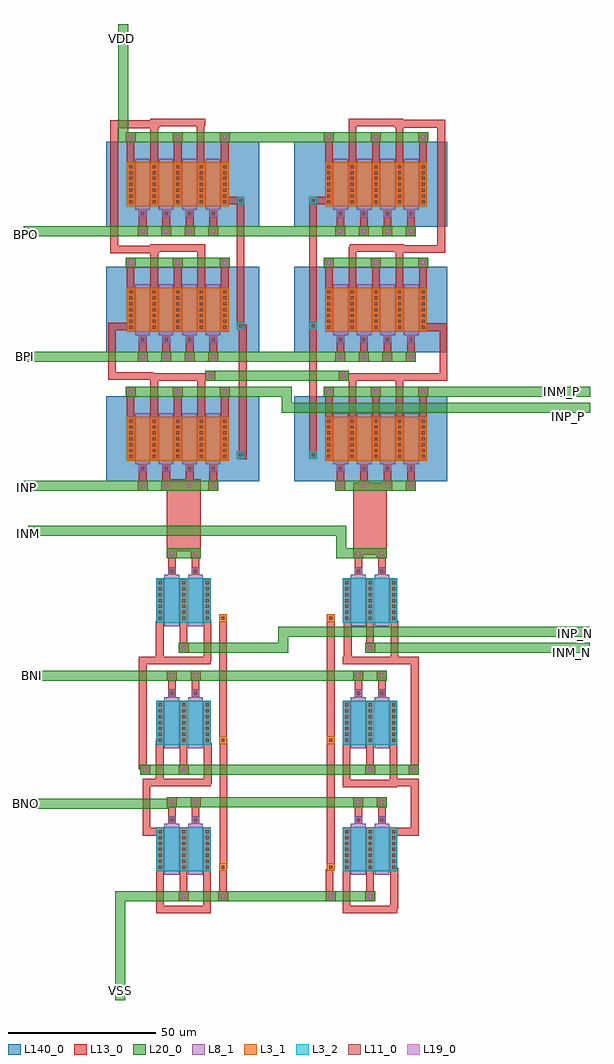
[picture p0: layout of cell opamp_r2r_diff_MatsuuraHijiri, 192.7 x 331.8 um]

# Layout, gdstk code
from math import pi, radians
import gdstk
lib = gdstk.Library(unit=1e-6, precision=1e-07)
def R(c, l, rs):  # rectangles x0, y0, x1, y1
    for r in rs: c.add(gdstk.rectangle(r[:2], r[2:], *l))
def A(c, l, x, y, w, h, nx, ny, dx, dy):  # array of equal rectangles
    R(c, l, [(x+i*dx, y+j*dy, x+i*dx+w, y+j*dy+h) for i in range(nx) for j in range(ny)])
L3_1 = (3, 1)
L3_2 = (3, 2)
L8_1 = (8, 1)
L11_0 = (11, 0)
L13_0 = (13, 0)
L19_0 = (19, 0)
L20_0 = (20, 0)
L140_0 = (140, 0)

via_1 = lib.new_cell('via_1')
R(via_1, L13_0, [(-1.7,-1.7,1.7,1.7)])
R(via_1, L19_0, [(-0.7,-0.7,0.7,0.7)])
R(via_1, L20_0, [(-1.7,-1.7,1.7,1.7)])

cont_g = lib.new_cell('cont_g')
R(cont_g, L8_1, [(-1.3,-1.3,1.3,1.3)])
R(cont_g, L11_0, [(-0.5,-0.5,0.5,0.5)])
R(cont_g, L13_0, [(-1.3,-1.3,1.3,1.3)])

cont_n = lib.new_cell('cont_n')
R(cont_n, L3_2, [(-1.3,-1.3,1.3,1.3)])
R(cont_n, L11_0, [(-0.5,-0.5,0.5,0.5)])
R(cont_n, L13_0, [(-1.3,-1.3,1.3,1.3)])

fet_p = lib.new_cell('fet_p')
R(fet_p, L3_1, [(-17.3,-7.5,17.3,7.5)])
A(fet_p, L11_0, -16.5, -6.5, 1, 1, 5, 7, 8, 2)
A(fet_p, L13_0, -17.3, -7.3, 2.6, 14.6, 5, 1, 8, 0)
fet_p.add(gdstk.FlexPath([(4,-8.7),(4,8.7)], 5, ends="flush", simple_path=True, layer=8, datatype=1))  # L8_1
fet_p.add(gdstk.FlexPath([(-4,-8.7),(-4,8.7)], 5, ends="flush", simple_path=True, layer=8, datatype=1))  # L8_1
fet_p.add(gdstk.FlexPath([(12,-8.7),(12,8.7)], 5, ends="flush", simple_path=True, layer=8, datatype=1))  # L8_1
fet_p.add(gdstk.FlexPath([(-12,-8.7),(-12,8.7)], 5, ends="flush", simple_path=True, layer=8, datatype=1))  # L8_1

fet_n = lib.new_cell('fet_n')
R(fet_n, L3_2, [(-9.3,-7.5,9.3,7.5)])
A(fet_n, L11_0, -8.5, -6.5, 1, 1, 3, 7, 8, 2)
A(fet_n, L13_0, -9.3, -7.3, 2.6, 14.6, 3, 1, 8, 0)
fet_n.add(gdstk.FlexPath([(4,-8.7),(4,8.7)], 5, ends="flush", simple_path=True, layer=8, datatype=1))  # L8_1
fet_n.add(gdstk.FlexPath([(-4,-8.7),(-4,8.7)], 5, ends="flush", simple_path=True, layer=8, datatype=1))  # L8_1

cont_p = lib.new_cell('cont_p')
R(cont_p, L3_1, [(-1.3,-1.3,1.3,1.3)])
R(cont_p, L11_0, [(-0.5,-0.5,0.5,0.5)])
R(cont_p, L13_0, [(-1.3,-1.3,1.3,1.3)])

opamp_r2r_diff_matsuurah = lib.new_cell('opamp_r2r_diff_MatsuuraHijiri')
R(opamp_r2r_diff_matsuurah, L13_0, [(57.6,-24.5,69.1,0), (-5.7,-23.3,5.8,1.2)])
R(opamp_r2r_diff_matsuurah, L140_0, [(-26.3,0.5,25.7,29.5), (37.7,0.5,89.7,29.5), (-26.3,44.4,25.7,73.4), (37.7,44.4,89.7,73.4), (-26.3,87,25.7,116), (37.7,87,89.7,116)])
opamp_r2r_diff_matsuurah.add(gdstk.FlexPath([(74,36),(88.4,36),(88.4,52.9),(82.7,52.9)], 2.6, ends="flush", simple_path=True, layer=13, datatype=0))  # L13_0
opamp_r2r_diff_matsuurah.add(gdstk.FlexPath([(44,54.7),(44,8.2)], 2.6, ends="flush", simple_path=True, layer=13, datatype=0))  # L13_0
opamp_r2r_diff_matsuurah.add(gdstk.FlexPath([(44,94.7),(44,52.1)], 2.6, ends="flush", simple_path=True, layer=13, datatype=0))  # L13_0
opamp_r2r_diff_matsuurah.add(gdstk.FlexPath([(48.1,96),(42.7,96)], 2.6, ends="flush", simple_path=True, layer=13, datatype=0))  # L13_0
opamp_r2r_diff_matsuurah.add(gdstk.FlexPath([(74.7,122.5),(56.1,122.5)], 2.6, ends="flush", simple_path=True, layer=13, datatype=0))  # L13_0
opamp_r2r_diff_matsuurah.add(gdstk.FlexPath([(75,79.9),(56.4,79.9)], 2.6, ends="flush", simple_path=True, layer=13, datatype=0))  # L13_0
opamp_r2r_diff_matsuurah.add(gdstk.FlexPath([(74.7,36),(56.1,36)], 2.6, ends="flush", simple_path=True, layer=13, datatype=0))  # L13_0
opamp_r2r_diff_matsuurah.add(gdstk.FlexPath([(53.3,90.2),(53.3,87.2)], 2.6, ends="flush", simple_path=True, layer=13, datatype=0))  # L13_0
opamp_r2r_diff_matsuurah.add(gdstk.FlexPath([(53.3,47.6),(53.3,44.6)], 2.6, ends="flush", simple_path=True, layer=13, datatype=0))  # L13_0
opamp_r2r_diff_matsuurah.add(gdstk.FlexPath([(53.3,3.7),(53.3,0.7)], 2.6, ends="flush", simple_path=True, layer=13, datatype=0))  # L13_0
opamp_r2r_diff_matsuurah.add(gdstk.FlexPath([(61.3,90.2),(61.3,87.2)], 2.6, ends="flush", simple_path=True, layer=13, datatype=0))  # L13_0
opamp_r2r_diff_matsuurah.add(gdstk.FlexPath([(61.3,47.6),(61.3,44.6)], 2.6, ends="flush", simple_path=True, layer=13, datatype=0))  # L13_0
opamp_r2r_diff_matsuurah.add(gdstk.FlexPath([(61.3,3.7),(61.3,0.7)], 2.6, ends="flush", simple_path=True, layer=13, datatype=0))  # L13_0
opamp_r2r_diff_matsuurah.add(gdstk.FlexPath([(69.3,90.2),(69.3,87.2)], 2.6, ends="flush", simple_path=True, layer=13, datatype=0))  # L13_0
opamp_r2r_diff_matsuurah.add(gdstk.FlexPath([(69.3,47.6),(69.3,44.6)], 2.6, ends="flush", simple_path=True, layer=13, datatype=0))  # L13_0
opamp_r2r_diff_matsuurah.add(gdstk.FlexPath([(69.3,3.7),(69.3,0.7)], 2.6, ends="flush", simple_path=True, layer=13, datatype=0))  # L13_0
opamp_r2r_diff_matsuurah.add(gdstk.FlexPath([(77.3,90.2),(77.3,87.2)], 2.6, ends="flush", simple_path=True, layer=13, datatype=0))  # L13_0
opamp_r2r_diff_matsuurah.add(gdstk.FlexPath([(77.3,47.6),(77.3,44.6)], 2.6, ends="flush", simple_path=True, layer=13, datatype=0))  # L13_0
opamp_r2r_diff_matsuurah.add(gdstk.FlexPath([(77.3,3.7),(77.3,0.7)], 2.6, ends="flush", simple_path=True, layer=13, datatype=0))  # L13_0
opamp_r2r_diff_matsuurah.add(gdstk.FlexPath([(57.4,108.8),(57.4,122.8)], 2.6, ends="flush", simple_path=True, layer=13, datatype=0))  # L13_0
opamp_r2r_diff_matsuurah.add(gdstk.FlexPath([(57.4,66.2),(57.4,80.2)], 2.6, ends="flush", simple_path=True, layer=13, datatype=0))  # L13_0
opamp_r2r_diff_matsuurah.add(gdstk.FlexPath([(57.4,22.3),(57.4,36.3)], 2.6, ends="flush", simple_path=True, layer=13, datatype=0))  # L13_0
opamp_r2r_diff_matsuurah.add(gdstk.FlexPath([(49.4,108.8),(49.4,115.8)], 2.6, ends="flush", simple_path=True, layer=13, datatype=0))  # L13_0
opamp_r2r_diff_matsuurah.add(gdstk.FlexPath([(49.4,66.2),(49.4,73.2)], 2.6, ends="flush", simple_path=True, layer=13, datatype=0))  # L13_0
opamp_r2r_diff_matsuurah.add(gdstk.FlexPath([(49.4,22.3),(49.4,29.3)], 2.6, ends="flush", simple_path=True, layer=13, datatype=0))  # L13_0
opamp_r2r_diff_matsuurah.add(gdstk.FlexPath([(73.4,108.8),(73.4,122.8)], 2.6, ends="flush", simple_path=True, layer=13, datatype=0))  # L13_0
opamp_r2r_diff_matsuurah.add(gdstk.FlexPath([(73.4,66.2),(73.4,80.2)], 2.6, ends="flush", simple_path=True, layer=13, datatype=0))  # L13_0
opamp_r2r_diff_matsuurah.add(gdstk.FlexPath([(73.4,22.3),(73.4,36.3)], 2.6, ends="flush", simple_path=True, layer=13, datatype=0))  # L13_0
opamp_r2r_diff_matsuurah.add(gdstk.FlexPath([(65.4,108.8),(65.4,115.8)], 2.6, ends="flush", simple_path=True, layer=13, datatype=0))  # L13_0
opamp_r2r_diff_matsuurah.add(gdstk.FlexPath([(65.4,66.2),(65.4,73.2)], 2.6, ends="flush", simple_path=True, layer=13, datatype=0))  # L13_0
opamp_r2r_diff_matsuurah.add(gdstk.FlexPath([(65.4,22.3),(65.4,29.3)], 2.6, ends="flush", simple_path=True, layer=13, datatype=0))  # L13_0
opamp_r2r_diff_matsuurah.add(gdstk.FlexPath([(81.4,108.8),(81.4,115.8)], 2.6, ends="flush", simple_path=True, layer=13, datatype=0))  # L13_0
opamp_r2r_diff_matsuurah.add(gdstk.FlexPath([(81.4,66.2),(81.4,73.2)], 2.6, ends="flush", simple_path=True, layer=13, datatype=0))  # L13_0
opamp_r2r_diff_matsuurah.add(gdstk.FlexPath([(81.4,22.3),(81.4,29.3)], 2.6, ends="flush", simple_path=True, layer=13, datatype=0))  # L13_0
opamp_r2r_diff_matsuurah.add(gdstk.FlexPath([(71.7,79.5),(87.6,79.5),(87.6,122.1),(71.7,122.1)], 2.6, ends="flush", simple_path=True, layer=13, datatype=0))  # L13_0
opamp_r2r_diff_matsuurah.add(gdstk.FlexPath([(20.1,53.7),(20.1,8)], 2.6, ends="flush", simple_path=True, layer=13, datatype=0))  # L13_0
opamp_r2r_diff_matsuurah.add(gdstk.FlexPath([(-13.9,47.6),(-13.9,44.6)], 2.6, ends="flush", simple_path=True, layer=13, datatype=0))  # L13_0
opamp_r2r_diff_matsuurah.add(gdstk.FlexPath([(10.1,47.6),(10.1,44.6)], 2.6, ends="flush", simple_path=True, layer=13, datatype=0))  # L13_0
opamp_r2r_diff_matsuurah.add(gdstk.FlexPath([(-13.9,90.2),(-13.9,87.2)], 2.6, ends="flush", simple_path=True, layer=13, datatype=0))  # L13_0
opamp_r2r_diff_matsuurah.add(gdstk.FlexPath([(6,22.3),(6,36.3)], 2.6, ends="flush", simple_path=True, layer=13, datatype=0))  # L13_0
opamp_r2r_diff_matsuurah.add(gdstk.FlexPath([(-11.3,36),(7.3,36)], 2.6, ends="flush", simple_path=True, layer=13, datatype=0))  # L13_0
opamp_r2r_diff_matsuurah.add(gdstk.FlexPath([(10.1,90.2),(10.1,87.2)], 2.6, ends="flush", simple_path=True, layer=13, datatype=0))  # L13_0
opamp_r2r_diff_matsuurah.add(gdstk.FlexPath([(6,66.2),(6,80.2)], 2.6, ends="flush", simple_path=True, layer=13, datatype=0))  # L13_0
opamp_r2r_diff_matsuurah.add(gdstk.FlexPath([(2.1,3.7),(2.1,0.7)], 2.6, ends="flush", simple_path=True, layer=13, datatype=0))  # L13_0
opamp_r2r_diff_matsuurah.add(gdstk.FlexPath([(5.8,108.1),(5.8,122.1)], 2.6, ends="flush", simple_path=True, layer=13, datatype=0))  # L13_0
opamp_r2r_diff_matsuurah.add(gdstk.FlexPath([(14,22.3),(14,29.3)], 2.6, ends="flush", simple_path=True, layer=13, datatype=0))  # L13_0
opamp_r2r_diff_matsuurah.add(gdstk.FlexPath([(-10.3,36.3),(-24.4,36.3),(-24.4,53.2),(-18.7,53.2)], 2.6, ends="flush", simple_path=True, layer=13, datatype=0))  # L13_0
opamp_r2r_diff_matsuurah.add(gdstk.FlexPath([(19.4,94.7),(19.4,54.1)], 2.6, ends="flush", simple_path=True, layer=13, datatype=0))  # L13_0
opamp_r2r_diff_matsuurah.add(gdstk.FlexPath([(14,66.2),(14,73.2)], 2.6, ends="flush", simple_path=True, layer=13, datatype=0))  # L13_0
opamp_r2r_diff_matsuurah.add(gdstk.FlexPath([(2.1,47.6),(2.1,44.6)], 2.6, ends="flush", simple_path=True, layer=13, datatype=0))  # L13_0
opamp_r2r_diff_matsuurah.add(gdstk.FlexPath([(14,108.8),(14,115.8)], 2.6, ends="flush", simple_path=True, layer=13, datatype=0))  # L13_0
opamp_r2r_diff_matsuurah.add(gdstk.FlexPath([(-10,22.3),(-10,36.3)], 2.6, ends="flush", simple_path=True, layer=13, datatype=0))  # L13_0
opamp_r2r_diff_matsuurah.add(gdstk.FlexPath([(-11.3,79.9),(7.3,79.9)], 2.6, ends="flush", simple_path=True, layer=13, datatype=0))  # L13_0
opamp_r2r_diff_matsuurah.add(gdstk.FlexPath([(2.1,90.2),(2.1,87.2)], 2.6, ends="flush", simple_path=True, layer=13, datatype=0))  # L13_0
opamp_r2r_diff_matsuurah.add(gdstk.FlexPath([(-10,66.2),(-10,80.2)], 2.6, ends="flush", simple_path=True, layer=13, datatype=0))  # L13_0
opamp_r2r_diff_matsuurah.add(gdstk.FlexPath([(-5.9,3.7),(-5.9,0.7)], 2.6, ends="flush", simple_path=True, layer=13, datatype=0))  # L13_0
opamp_r2r_diff_matsuurah.add(gdstk.FlexPath([(-10,107.9),(-10,121.9)], 2.6, ends="flush", simple_path=True, layer=13, datatype=0))  # L13_0
opamp_r2r_diff_matsuurah.add(gdstk.FlexPath([(-2,22.3),(-2,29.3)], 2.6, ends="flush", simple_path=True, layer=13, datatype=0))  # L13_0
opamp_r2r_diff_matsuurah.add(gdstk.FlexPath([(-8.3,79.3),(-23.6,79.3),(-23.6,121.9),(-8.3,121.9)], 2.6, ends="flush", simple_path=True, layer=13, datatype=0))  # L13_0
opamp_r2r_diff_matsuurah.add(gdstk.FlexPath([(-2,66.2),(-2,73.2)], 2.6, ends="flush", simple_path=True, layer=13, datatype=0))  # L13_0
opamp_r2r_diff_matsuurah.add(gdstk.FlexPath([(-5.9,47.6),(-5.9,44.6)], 2.6, ends="flush", simple_path=True, layer=13, datatype=0))  # L13_0
opamp_r2r_diff_matsuurah.add(gdstk.FlexPath([(-2,108.8),(-2,115.8)], 2.6, ends="flush", simple_path=True, layer=13, datatype=0))  # L13_0
opamp_r2r_diff_matsuurah.add(gdstk.FlexPath([(-18,22.3),(-18,29.3)], 2.6, ends="flush", simple_path=True, layer=13, datatype=0))  # L13_0
opamp_r2r_diff_matsuurah.add(gdstk.FlexPath([(10.1,3.7),(10.1,0.7)], 2.6, ends="flush", simple_path=True, layer=13, datatype=0))  # L13_0
opamp_r2r_diff_matsuurah.add(gdstk.FlexPath([(-5.9,90.2),(-5.9,87.2)], 2.6, ends="flush", simple_path=True, layer=13, datatype=0))  # L13_0
opamp_r2r_diff_matsuurah.add(gdstk.FlexPath([(-18,66.2),(-18,73.2)], 2.6, ends="flush", simple_path=True, layer=13, datatype=0))  # L13_0
opamp_r2r_diff_matsuurah.add(gdstk.FlexPath([(-13.9,3.7),(-13.9,0.7)], 2.6, ends="flush", simple_path=True, layer=13, datatype=0))  # L13_0
opamp_r2r_diff_matsuurah.add(gdstk.FlexPath([(-18,108.8),(-18,115.8)], 2.6, ends="flush", simple_path=True, layer=13, datatype=0))  # L13_0
opamp_r2r_diff_matsuurah.add(gdstk.FlexPath([(-11.3,122.5),(7.3,122.5)], 2.6, ends="flush", simple_path=True, layer=13, datatype=0))  # L13_0
opamp_r2r_diff_matsuurah.add(gdstk.FlexPath([(20.7,96),(15.3,96)], 2.6, ends="flush", simple_path=True, layer=13, datatype=0))  # L13_0
opamp_r2r_diff_matsuurah.add(gdstk.FlexPath([(13.4,-45.3),(13.4,-87.2)], 2.6, ends="flush", simple_path=True, layer=13, datatype=0))  # L13_0
opamp_r2r_diff_matsuurah.add(gdstk.FlexPath([(13.6,-87),(13.6,-131.1)], 2.6, ends="flush", simple_path=True, layer=13, datatype=0))  # L13_0
opamp_r2r_diff_matsuurah.add(gdstk.FlexPath([(-7.4,-101.9),(-12.6,-101.9),(-12.6,-118.6),(-7.4,-118.6)], 2.6, ends="flush", simple_path=True, layer=13, datatype=0))  # L13_0
opamp_r2r_diff_matsuurah.add(gdstk.FlexPath([(-8.7,-60.4),(-13.9,-60.4),(-13.9,-97.4)], 2.6, ends="flush", simple_path=True, layer=13, datatype=0))  # L13_0
opamp_r2r_diff_matsuurah.add(gdstk.FlexPath([(13.4,-130.5),(13.4,-140.7)], 2.6, ends="flush", simple_path=True, layer=13, datatype=0))  # L13_0
opamp_r2r_diff_matsuurah.add(gdstk.FlexPath([(-8,-145.9),(-8,-131.9)], 2.6, ends="flush", simple_path=True, layer=13, datatype=0))  # L13_0
opamp_r2r_diff_matsuurah.add(gdstk.FlexPath([(0,-54.3),(0,-47.3)], 2.6, ends="flush", simple_path=True, layer=13, datatype=0))  # L13_0
opamp_r2r_diff_matsuurah.add(gdstk.FlexPath([(0,-95.8),(0,-88.8)], 2.6, ends="flush", simple_path=True, layer=13, datatype=0))  # L13_0
opamp_r2r_diff_matsuurah.add(gdstk.FlexPath([(0,-138.9),(0,-131.9)], 2.6, ends="flush", simple_path=True, layer=13, datatype=0))  # L13_0
opamp_r2r_diff_matsuurah.add(gdstk.FlexPath([(8.1,-60.5),(8.1,-46.5)], 2.6, ends="flush", simple_path=True, layer=13, datatype=0))  # L13_0
opamp_r2r_diff_matsuurah.add(gdstk.FlexPath([(8.2,-102.5),(8.2,-88.5)], 2.6, ends="flush", simple_path=True, layer=13, datatype=0))  # L13_0
opamp_r2r_diff_matsuurah.add(gdstk.FlexPath([(8,-145.9),(8,-131.9)], 2.6, ends="flush", simple_path=True, layer=13, datatype=0))  # L13_0
opamp_r2r_diff_matsuurah.add(gdstk.FlexPath([(-9.3,-60.4),(9.3,-60.4)], 2.6, ends="flush", simple_path=True, layer=13, datatype=0))  # L13_0
opamp_r2r_diff_matsuurah.add(gdstk.FlexPath([(-9.3,-101.9),(9.3,-101.9)], 2.6, ends="flush", simple_path=True, layer=13, datatype=0))  # L13_0
opamp_r2r_diff_matsuurah.add(gdstk.FlexPath([(-4,-25.7),(-4,-28.7)], 2.6, ends="flush", simple_path=True, layer=13, datatype=0))  # L13_0
opamp_r2r_diff_matsuurah.add(gdstk.FlexPath([(-4,-67.2),(-4,-70.2)], 2.6, ends="flush", simple_path=True, layer=13, datatype=0))  # L13_0
opamp_r2r_diff_matsuurah.add(gdstk.FlexPath([(-4,-110.3),(-4,-113.3)], 2.6, ends="flush", simple_path=True, layer=13, datatype=0))  # L13_0
opamp_r2r_diff_matsuurah.add(gdstk.FlexPath([(4,-25.7),(4,-28.7)], 2.6, ends="flush", simple_path=True, layer=13, datatype=0))  # L13_0
opamp_r2r_diff_matsuurah.add(gdstk.FlexPath([(4,-67.2),(4,-70.2)], 2.6, ends="flush", simple_path=True, layer=13, datatype=0))  # L13_0
opamp_r2r_diff_matsuurah.add(gdstk.FlexPath([(4,-110.3),(4,-113.3)], 2.6, ends="flush", simple_path=True, layer=13, datatype=0))  # L13_0
opamp_r2r_diff_matsuurah.add(gdstk.FlexPath([(-9.3,-145),(9.3,-145)], 2.6, ends="flush", simple_path=True, layer=13, datatype=0))  # L13_0
opamp_r2r_diff_matsuurah.add(gdstk.FlexPath([(-8.1,-60.9),(-8.1,-46.9)], 2.6, ends="flush", simple_path=True, layer=13, datatype=0))  # L13_0
opamp_r2r_diff_matsuurah.add(gdstk.FlexPath([(-8.1,-101.5),(-8.1,-87.5)], 2.6, ends="flush", simple_path=True, layer=13, datatype=0))  # L13_0
opamp_r2r_diff_matsuurah.add(gdstk.FlexPath([(71.7,-60.4),(78.6,-60.4),(78.6,-98.9)], 2.6, ends="flush", simple_path=True, layer=13, datatype=0))  # L13_0
opamp_r2r_diff_matsuurah.add(gdstk.FlexPath([(71.4,-102.8),(71.4,-88.8)], 2.6, ends="flush", simple_path=True, layer=13, datatype=0))  # L13_0
opamp_r2r_diff_matsuurah.add(gdstk.FlexPath([(49.6,-131.4),(49.6,-141)], 2.6, ends="flush", simple_path=True, layer=13, datatype=0))  # L13_0
opamp_r2r_diff_matsuurah.add(gdstk.FlexPath([(72.7,-60.4),(54.1,-60.4)], 2.6, ends="flush", simple_path=True, layer=13, datatype=0))  # L13_0
opamp_r2r_diff_matsuurah.add(gdstk.FlexPath([(71.6,-144.8),(71.6,-130.8)], 2.6, ends="flush", simple_path=True, layer=13, datatype=0))  # L13_0
opamp_r2r_diff_matsuurah.add(gdstk.FlexPath([(72.7,-102.2),(54.1,-102.2)], 2.6, ends="flush", simple_path=True, layer=13, datatype=0))  # L13_0
opamp_r2r_diff_matsuurah.add(gdstk.FlexPath([(67.4,-110.3),(67.4,-113.3)], 2.6, ends="flush", simple_path=True, layer=13, datatype=0))  # L13_0
opamp_r2r_diff_matsuurah.add(gdstk.FlexPath([(59.4,-67.2),(59.4,-70.2)], 2.6, ends="flush", simple_path=True, layer=13, datatype=0))  # L13_0
opamp_r2r_diff_matsuurah.add(gdstk.FlexPath([(63.4,-54.3),(63.4,-47.3)], 2.6, ends="flush", simple_path=True, layer=13, datatype=0))  # L13_0
opamp_r2r_diff_matsuurah.add(gdstk.FlexPath([(59.4,-110.3),(59.4,-113.3)], 2.6, ends="flush", simple_path=True, layer=13, datatype=0))  # L13_0
opamp_r2r_diff_matsuurah.add(gdstk.FlexPath([(63.4,-95.8),(63.4,-88.8)], 2.6, ends="flush", simple_path=True, layer=13, datatype=0))  # L13_0
opamp_r2r_diff_matsuurah.add(gdstk.FlexPath([(63.4,-138.9),(63.4,-131.9)], 2.6, ends="flush", simple_path=True, layer=13, datatype=0))  # L13_0
opamp_r2r_diff_matsuurah.add(gdstk.FlexPath([(67.4,-25.7),(67.4,-28.7)], 2.6, ends="flush", simple_path=True, layer=13, datatype=0))  # L13_0
opamp_r2r_diff_matsuurah.add(gdstk.FlexPath([(67.4,-67.2),(67.4,-70.2)], 2.6, ends="flush", simple_path=True, layer=13, datatype=0))  # L13_0
opamp_r2r_diff_matsuurah.add(gdstk.FlexPath([(55.8,-61.3),(55.8,-47.3)], 2.6, ends="flush", simple_path=True, layer=13, datatype=0))  # L13_0
opamp_r2r_diff_matsuurah.add(gdstk.FlexPath([(50,-46.9),(50,-87.6)], 2.6, ends="flush", simple_path=True, layer=13, datatype=0))  # L13_0
opamp_r2r_diff_matsuurah.add(gdstk.FlexPath([(71.7,-60.8),(71.7,-46.8)], 2.6, ends="flush", simple_path=True, layer=13, datatype=0))  # L13_0
opamp_r2r_diff_matsuurah.add(gdstk.FlexPath([(55.4,-102.8),(55.4,-88.8)], 2.6, ends="flush", simple_path=True, layer=13, datatype=0))  # L13_0
opamp_r2r_diff_matsuurah.add(gdstk.FlexPath([(72.7,-145),(54.1,-145)], 2.6, ends="flush", simple_path=True, layer=13, datatype=0))  # L13_0
opamp_r2r_diff_matsuurah.add(gdstk.FlexPath([(55.4,-145.9),(55.4,-131.9)], 2.6, ends="flush", simple_path=True, layer=13, datatype=0))  # L13_0
opamp_r2r_diff_matsuurah.add(gdstk.FlexPath([(50,-130.2),(50,-87.3)], 2.6, ends="flush", simple_path=True, layer=13, datatype=0))  # L13_0
opamp_r2r_diff_matsuurah.add(gdstk.FlexPath([(71.7,-101.9),(78.6,-101.9),(78.6,-118.6),(71.7,-118.6)], 2.6, ends="flush", simple_path=True, layer=13, datatype=0))  # L13_0
opamp_r2r_diff_matsuurah.add(gdstk.FlexPath([(59.4,-25.7),(59.4,-28.7)], 2.6, ends="flush", simple_path=True, layer=13, datatype=0))  # L13_0
opamp_r2r_diff_matsuurah.add(gdstk.FlexPath([(-5.7,-24),(5.8,-24)], 3.4, ends="flush", simple_path=True, layer=20, datatype=0))  # L20_0
opamp_r2r_diff_matsuurah.add(gdstk.FlexPath([(69.1,-24),(57.6,-24)], 3.4, ends="flush", simple_path=True, layer=20, datatype=0))  # L20_0
opamp_r2r_diff_matsuurah.add(gdstk.FlexPath([(-5.7,-65.5),(5.8,-65.5)], 3.4, ends="flush", simple_path=True, layer=20, datatype=0))  # L20_0
opamp_r2r_diff_matsuurah.add(gdstk.FlexPath([(69.1,-65.5),(57.6,-65.5)], 3.4, ends="flush", simple_path=True, layer=20, datatype=0))  # L20_0
opamp_r2r_diff_matsuurah.add(gdstk.FlexPath([(69.1,-108.6),(57.6,-108.6)], 3.4, ends="flush", simple_path=True, layer=20, datatype=0))  # L20_0
opamp_r2r_diff_matsuurah.add(gdstk.FlexPath([(-5.7,-108.6),(5.8,-108.6)], 3.4, ends="flush", simple_path=True, layer=20, datatype=0))  # L20_0
opamp_r2r_diff_matsuurah.add(gdstk.FlexPath([(53.2,36.4),(10.1,36.4)], 3.4, ends="flush", simple_path=True, layer=20, datatype=0))  # L20_0
opamp_r2r_diff_matsuurah.add(gdstk.FlexPath([(-12.2,42.9),(-54.4,42.9)], 3.4, ends="flush", simple_path=True, layer=20, datatype=0))  # L20_0
opamp_r2r_diff_matsuurah.add(gdstk.FlexPath([(-13.5,117.5),(-20.6,117.5),(-20.6,156)], 3.4, ends="flush", simple_path=True, layer=20, datatype=0))  # L20_0
opamp_r2r_diff_matsuurah.add(gdstk.FlexPath([(54.9,42.9),(11.8,42.9)], 3.4, ends="flush", simple_path=True, layer=20, datatype=0))  # L20_0
opamp_r2r_diff_matsuurah.add(gdstk.FlexPath([(51.2,85.5),(10.4,85.5)], 3.4, ends="flush", simple_path=True, layer=20, datatype=0))  # L20_0
opamp_r2r_diff_matsuurah.add(gdstk.FlexPath([(-14.8,-97.5),(3.4,-97.5)], 3.4, ends="flush", simple_path=True, layer=20, datatype=0))  # L20_0
opamp_r2r_diff_matsuurah.add(gdstk.FlexPath([(15.7,31),(35.1,31),(35.1,25.6),(138.3,25.6)], 3.4, ends="flush", simple_path=True, layer=20, datatype=0))  # L20_0
opamp_r2r_diff_matsuurah.add(gdstk.FlexPath([(79.1,31),(138.3,31)], 3.4, ends="flush", simple_path=True, layer=20, datatype=0))  # L20_0
opamp_r2r_diff_matsuurah.add(gdstk.FlexPath([(58.9,-23.9),(53.6,-23.9),(53.6,-16.2),(-52.8,-16.2)], 3.4, ends="flush", simple_path=True, layer=20, datatype=0))  # L20_0
opamp_r2r_diff_matsuurah.add(gdstk.FlexPath([(-4.8,-109.1),(-54,-109.1)], 3.4, ends="flush", simple_path=True, layer=20, datatype=0))  # L20_0
opamp_r2r_diff_matsuurah.add(gdstk.FlexPath([(58.2,-108.6),(5.3,-108.6)], 3.4, ends="flush", simple_path=True, layer=20, datatype=0))  # L20_0
opamp_r2r_diff_matsuurah.add(gdstk.FlexPath([(61.7,-140.6),(1.7,-140.6)], 3.4, ends="flush", simple_path=True, layer=20, datatype=0))  # L20_0
opamp_r2r_diff_matsuurah.add(gdstk.FlexPath([(-1.7,-140.6),(-21.6,-140.6),(-21.6,-175.8)], 3.4, ends="flush", simple_path=True, layer=20, datatype=0))  # L20_0
opamp_r2r_diff_matsuurah.add(gdstk.FlexPath([(1.7,-97.5),(61.7,-97.5)], 3.4, ends="flush", simple_path=True, layer=20, datatype=0))  # L20_0
opamp_r2r_diff_matsuurah.add(gdstk.FlexPath([(61.7,-97.5),(79.9,-97.5)], 3.4, ends="flush", simple_path=True, layer=20, datatype=0))  # L20_0
opamp_r2r_diff_matsuurah.add(gdstk.FlexPath([(65.1,-56),(138.1,-56)], 3.4, ends="flush", simple_path=True, layer=20, datatype=0))  # L20_0
opamp_r2r_diff_matsuurah.add(gdstk.FlexPath([(-12.2,85.5),(-54.4,85.5)], 3.4, ends="flush", simple_path=True, layer=20, datatype=0))  # L20_0
opamp_r2r_diff_matsuurah.add(gdstk.FlexPath([(-12.2,85.5),(-54.4,85.5)], 3.4, ends="flush", simple_path=True, layer=20, datatype=0))  # L20_0
opamp_r2r_diff_matsuurah.add(gdstk.FlexPath([(58.2,-65.5),(5.3,-65.5)], 3.4, ends="flush", simple_path=True, layer=20, datatype=0))  # L20_0
opamp_r2r_diff_matsuurah.add(gdstk.FlexPath([(-5.2,-65.5),(-54.4,-65.5)], 3.4, ends="flush", simple_path=True, layer=20, datatype=0))  # L20_0
opamp_r2r_diff_matsuurah.add(gdstk.FlexPath([(75.6,85.5),(51.2,85.5)], 3.4, ends="flush", simple_path=True, layer=20, datatype=0))  # L20_0
opamp_r2r_diff_matsuurah.add(gdstk.FlexPath([(-19.7,31),(15.7,31)], 3.4, ends="flush", simple_path=True, layer=20, datatype=0))  # L20_0
opamp_r2r_diff_matsuurah.add(gdstk.FlexPath([(83.1,117.5),(47.7,117.5)], 3.4, ends="flush", simple_path=True, layer=20, datatype=0))  # L20_0
opamp_r2r_diff_matsuurah.add(gdstk.FlexPath([(83.1,74.9),(47.7,74.9)], 3.4, ends="flush", simple_path=True, layer=20, datatype=0))  # L20_0
opamp_r2r_diff_matsuurah.add(gdstk.FlexPath([(-19.7,74.9),(15.7,74.9)], 3.4, ends="flush", simple_path=True, layer=20, datatype=0))  # L20_0
opamp_r2r_diff_matsuurah.add(gdstk.FlexPath([(83.1,31),(47.7,31)], 3.4, ends="flush", simple_path=True, layer=20, datatype=0))  # L20_0
opamp_r2r_diff_matsuurah.add(gdstk.FlexPath([(-19.7,117.5),(15.7,117.5)], 3.4, ends="flush", simple_path=True, layer=20, datatype=0))  # L20_0
opamp_r2r_diff_matsuurah.add(gdstk.FlexPath([(11.8,-1),(-15.6,-1)], 3.4, ends="flush", simple_path=True, layer=20, datatype=0))  # L20_0
opamp_r2r_diff_matsuurah.add(gdstk.FlexPath([(51.6,85.5),(79,85.5)], 3.4, ends="flush", simple_path=True, layer=20, datatype=0))  # L20_0
opamp_r2r_diff_matsuurah.add(gdstk.FlexPath([(51.6,42.9),(79,42.9)], 3.4, ends="flush", simple_path=True, layer=20, datatype=0))  # L20_0
opamp_r2r_diff_matsuurah.add(gdstk.FlexPath([(11.8,42.9),(-15.6,42.9)], 3.4, ends="flush", simple_path=True, layer=20, datatype=0))  # L20_0
opamp_r2r_diff_matsuurah.add(gdstk.FlexPath([(51.6,-1),(79,-1)], 3.4, ends="flush", simple_path=True, layer=20, datatype=0))  # L20_0
opamp_r2r_diff_matsuurah.add(gdstk.FlexPath([(11.8,85.5),(-15.6,85.5)], 3.4, ends="flush", simple_path=True, layer=20, datatype=0))  # L20_0
opamp_r2r_diff_matsuurah.add(gdstk.FlexPath([(-12.4,-1),(-54.4,-1)], 3.4, ends="flush", simple_path=True, layer=20, datatype=0))  # L20_0
opamp_r2r_diff_matsuurah.add(gdstk.FlexPath([(1.7,-56),(33.8,-56),(33.8,-50.6),(138,-50.6)], 3.4, ends="flush", simple_path=True, layer=20, datatype=0))  # L20_0
opamp_r2r_diff_matsuurah.add(gdstk.FlexPath([(47.7,117.5),(15.7,117.5)], 3.4, ends="flush", simple_path=True, layer=20, datatype=0))  # L20_0
opamp_r2r_diff_matsuurah.add(gdstk.Reference(via_1, (61.3,85.5), rotation=pi, x_reflection=True))
opamp_r2r_diff_matsuurah.add(gdstk.Reference(via_1, (65.4,117.5), rotation=pi, x_reflection=True))
opamp_r2r_diff_matsuurah.add(gdstk.Reference(via_1, (81.4,117.5), rotation=pi, x_reflection=True))
opamp_r2r_diff_matsuurah.add(gdstk.Reference(via_1, (49.4,117.5), rotation=pi, x_reflection=True))
opamp_r2r_diff_matsuurah.add(gdstk.Reference(via_1, (69.3,85.5), rotation=pi, x_reflection=True))
opamp_r2r_diff_matsuurah.add(gdstk.Reference(via_1, (77.3,85.5), rotation=pi, x_reflection=True))
opamp_r2r_diff_matsuurah.add(gdstk.Reference(cont_g, (61.3,91.5), rotation=pi, x_reflection=True))
opamp_r2r_diff_matsuurah.add(gdstk.Reference(cont_g, (69.3,91.5), rotation=pi, x_reflection=True))
opamp_r2r_diff_matsuurah.add(gdstk.Reference(cont_g, (77.3,91.5), rotation=pi, x_reflection=True))
opamp_r2r_diff_matsuurah.add(gdstk.Reference(via_1, (53.3,85.5), rotation=pi, x_reflection=True))
opamp_r2r_diff_matsuurah.add(gdstk.Reference(cont_n, (44,96), rotation=pi, x_reflection=True))
opamp_r2r_diff_matsuurah.add(gdstk.Reference(fet_p, (65.4,101.5), rotation=pi, x_reflection=True))
opamp_r2r_diff_matsuurah.add(gdstk.Reference(cont_g, (53.3,91.5), rotation=pi, x_reflection=True))
opamp_r2r_diff_matsuurah.add(gdstk.Reference(via_1, (61.3,42.9), rotation=pi, x_reflection=True))
opamp_r2r_diff_matsuurah.add(gdstk.Reference(via_1, (65.4,74.9), rotation=pi, x_reflection=True))
opamp_r2r_diff_matsuurah.add(gdstk.Reference(via_1, (81.4,74.9), rotation=pi, x_reflection=True))
opamp_r2r_diff_matsuurah.add(gdstk.Reference(via_1, (49.4,74.9), rotation=pi, x_reflection=True))
opamp_r2r_diff_matsuurah.add(gdstk.Reference(via_1, (69.3,42.9), rotation=pi, x_reflection=True))
opamp_r2r_diff_matsuurah.add(gdstk.Reference(via_1, (77.3,42.9), rotation=pi, x_reflection=True))
opamp_r2r_diff_matsuurah.add(gdstk.Reference(cont_g, (61.3,48.9), rotation=pi, x_reflection=True))
opamp_r2r_diff_matsuurah.add(gdstk.Reference(cont_g, (69.3,48.9), rotation=pi, x_reflection=True))
opamp_r2r_diff_matsuurah.add(gdstk.Reference(cont_g, (77.3,48.9), rotation=pi, x_reflection=True))
opamp_r2r_diff_matsuurah.add(gdstk.Reference(via_1, (53.3,42.9), rotation=pi, x_reflection=True))
opamp_r2r_diff_matsuurah.add(gdstk.Reference(cont_n, (44,53.4), rotation=pi, x_reflection=True))
opamp_r2r_diff_matsuurah.add(gdstk.Reference(fet_p, (65.4,58.9), rotation=pi, x_reflection=True))
opamp_r2r_diff_matsuurah.add(gdstk.Reference(cont_g, (53.3,48.9), rotation=pi, x_reflection=True))
opamp_r2r_diff_matsuurah.add(gdstk.Reference(via_1, (61.3,-1), rotation=pi, x_reflection=True))
opamp_r2r_diff_matsuurah.add(gdstk.Reference(via_1, (65.4,31), rotation=pi, x_reflection=True))
opamp_r2r_diff_matsuurah.add(gdstk.Reference(via_1, (81.4,31), rotation=pi, x_reflection=True))
opamp_r2r_diff_matsuurah.add(gdstk.Reference(via_1, (49.4,31), rotation=pi, x_reflection=True))
opamp_r2r_diff_matsuurah.add(gdstk.Reference(via_1, (69.3,-1), rotation=pi, x_reflection=True))
opamp_r2r_diff_matsuurah.add(gdstk.Reference(via_1, (77.3,-1), rotation=pi, x_reflection=True))
opamp_r2r_diff_matsuurah.add(gdstk.Reference(cont_g, (61.3,5), rotation=pi, x_reflection=True))
opamp_r2r_diff_matsuurah.add(gdstk.Reference(cont_g, (69.3,5), rotation=pi, x_reflection=True))
opamp_r2r_diff_matsuurah.add(gdstk.Reference(cont_g, (77.3,5), rotation=pi, x_reflection=True))
opamp_r2r_diff_matsuurah.add(gdstk.Reference(via_1, (53.3,-1), rotation=pi, x_reflection=True))
opamp_r2r_diff_matsuurah.add(gdstk.Reference(cont_n, (44,9.5), rotation=pi, x_reflection=True))
opamp_r2r_diff_matsuurah.add(gdstk.Reference(fet_p, (65.4,15), rotation=pi, x_reflection=True))
opamp_r2r_diff_matsuurah.add(gdstk.Reference(cont_g, (53.3,5), rotation=pi, x_reflection=True))
opamp_r2r_diff_matsuurah.add(gdstk.Reference(via_1, (54.4,36.4)))
opamp_r2r_diff_matsuurah.add(gdstk.Reference(via_1, (-2,74.9)))
opamp_r2r_diff_matsuurah.add(gdstk.Reference(via_1, (-18,74.9)))
opamp_r2r_diff_matsuurah.add(gdstk.Reference(via_1, (14,74.9)))
opamp_r2r_diff_matsuurah.add(gdstk.Reference(via_1, (-5.9,42.9)))
opamp_r2r_diff_matsuurah.add(gdstk.Reference(via_1, (-13.9,42.9)))
opamp_r2r_diff_matsuurah.add(gdstk.Reference(cont_g, (2.1,48.9)))
opamp_r2r_diff_matsuurah.add(gdstk.Reference(cont_g, (-5.9,48.9)))
opamp_r2r_diff_matsuurah.add(gdstk.Reference(cont_g, (-13.9,48.9)))
opamp_r2r_diff_matsuurah.add(gdstk.Reference(via_1, (10.1,42.9)))
opamp_r2r_diff_matsuurah.add(gdstk.Reference(cont_n, (19.4,53.4)))
opamp_r2r_diff_matsuurah.add(gdstk.Reference(fet_p, (-2,58.9)))
opamp_r2r_diff_matsuurah.add(gdstk.Reference(cont_g, (10.1,48.9)))
opamp_r2r_diff_matsuurah.add(gdstk.Reference(via_1, (2.1,-1)))
opamp_r2r_diff_matsuurah.add(gdstk.Reference(via_1, (-2,31)))
opamp_r2r_diff_matsuurah.add(gdstk.Reference(via_1, (-18,31)))
opamp_r2r_diff_matsuurah.add(gdstk.Reference(via_1, (14,31)))
opamp_r2r_diff_matsuurah.add(gdstk.Reference(via_1, (-5.9,-1)))
opamp_r2r_diff_matsuurah.add(gdstk.Reference(via_1, (-13.9,-1)))
opamp_r2r_diff_matsuurah.add(gdstk.Reference(cont_g, (2.1,5)))
opamp_r2r_diff_matsuurah.add(gdstk.Reference(cont_g, (-5.9,5)))
opamp_r2r_diff_matsuurah.add(gdstk.Reference(cont_g, (-13.9,5)))
opamp_r2r_diff_matsuurah.add(gdstk.Reference(via_1, (10.1,-1)))
opamp_r2r_diff_matsuurah.add(gdstk.Reference(cont_n, (19.4,9.5)))
opamp_r2r_diff_matsuurah.add(gdstk.Reference(fet_p, (-2,15)))
opamp_r2r_diff_matsuurah.add(gdstk.Reference(cont_g, (10.1,5)))
opamp_r2r_diff_matsuurah.add(gdstk.Reference(via_1, (2.1,85.5)))
opamp_r2r_diff_matsuurah.add(gdstk.Reference(via_1, (-2,117.5)))
opamp_r2r_diff_matsuurah.add(gdstk.Reference(via_1, (-18,117.5)))
opamp_r2r_diff_matsuurah.add(gdstk.Reference(via_1, (14,117.5)))
opamp_r2r_diff_matsuurah.add(gdstk.Reference(via_1, (-5.9,85.5)))
opamp_r2r_diff_matsuurah.add(gdstk.Reference(via_1, (-13.9,85.5)))
opamp_r2r_diff_matsuurah.add(gdstk.Reference(cont_g, (2.1,91.5)))
opamp_r2r_diff_matsuurah.add(gdstk.Reference(cont_g, (-5.9,91.5)))
opamp_r2r_diff_matsuurah.add(gdstk.Reference(cont_g, (-13.9,91.5)))
opamp_r2r_diff_matsuurah.add(gdstk.Reference(via_1, (10.1,85.5)))
opamp_r2r_diff_matsuurah.add(gdstk.Reference(cont_n, (19.4,96)))
opamp_r2r_diff_matsuurah.add(gdstk.Reference(fet_p, (-2,101.5)))
opamp_r2r_diff_matsuurah.add(gdstk.Reference(cont_g, (10.1,91.5)))
opamp_r2r_diff_matsuurah.add(gdstk.Reference(via_1, (9,36.4)))
opamp_r2r_diff_matsuurah.add(gdstk.Reference(via_1, (2.1,42.9)))
opamp_r2r_diff_matsuurah.add(gdstk.Reference(fet_n, (0,-124.6)))
opamp_r2r_diff_matsuurah.add(gdstk.Reference(cont_p, (13.4,-130.6)))
opamp_r2r_diff_matsuurah.add(gdstk.Reference(cont_g, (-4,-114.6)))
opamp_r2r_diff_matsuurah.add(gdstk.Reference(cont_g, (4,-114.6)))
opamp_r2r_diff_matsuurah.add(gdstk.Reference(via_1, (-4,-108.6)))
opamp_r2r_diff_matsuurah.add(gdstk.Reference(via_1, (4.1,-108.6)))
opamp_r2r_diff_matsuurah.add(gdstk.Reference(via_1, (0,-140.6)))
opamp_r2r_diff_matsuurah.add(gdstk.Reference(via_1, (-13.1,-97.5)))
opamp_r2r_diff_matsuurah.add(gdstk.Reference(fet_n, (0,-40)))
opamp_r2r_diff_matsuurah.add(gdstk.Reference(cont_p, (13.4,-46)))
opamp_r2r_diff_matsuurah.add(gdstk.Reference(cont_g, (-4,-30)))
opamp_r2r_diff_matsuurah.add(gdstk.Reference(cont_g, (4,-30)))
opamp_r2r_diff_matsuurah.add(gdstk.Reference(via_1, (-4,-24)))
opamp_r2r_diff_matsuurah.add(gdstk.Reference(via_1, (4.1,-24)))
opamp_r2r_diff_matsuurah.add(gdstk.Reference(via_1, (0,-56)))
opamp_r2r_diff_matsuurah.add(gdstk.Reference(fet_n, (0,-81.5)))
opamp_r2r_diff_matsuurah.add(gdstk.Reference(cont_p, (13.4,-87.5)))
opamp_r2r_diff_matsuurah.add(gdstk.Reference(cont_g, (-4,-71.5)))
opamp_r2r_diff_matsuurah.add(gdstk.Reference(cont_g, (4,-71.5)))
opamp_r2r_diff_matsuurah.add(gdstk.Reference(via_1, (-4,-65.5)))
opamp_r2r_diff_matsuurah.add(gdstk.Reference(via_1, (4.1,-65.5)))
opamp_r2r_diff_matsuurah.add(gdstk.Reference(via_1, (0,-97.5)))
opamp_r2r_diff_matsuurah.add(gdstk.Reference(via_1, (13.4,-140.6)))
opamp_r2r_diff_matsuurah.add(gdstk.Reference(cont_g, (59.4,-30), rotation=pi, x_reflection=True))
opamp_r2r_diff_matsuurah.add(gdstk.Reference(via_1, (67.4,-24), rotation=pi, x_reflection=True))
opamp_r2r_diff_matsuurah.add(gdstk.Reference(via_1, (59.3,-24), rotation=pi, x_reflection=True))
opamp_r2r_diff_matsuurah.add(gdstk.Reference(via_1, (63.4,-56), rotation=pi, x_reflection=True))
opamp_r2r_diff_matsuurah.add(gdstk.Reference(fet_n, (63.4,-81.5), rotation=pi, x_reflection=True))
opamp_r2r_diff_matsuurah.add(gdstk.Reference(via_1, (78.2,-97.5)))
opamp_r2r_diff_matsuurah.add(gdstk.Reference(cont_p, (50,-87.5), rotation=pi, x_reflection=True))
opamp_r2r_diff_matsuurah.add(gdstk.Reference(via_1, (50.1,-140.6)))
opamp_r2r_diff_matsuurah.add(gdstk.Reference(cont_g, (67.4,-71.5), rotation=pi, x_reflection=True))
opamp_r2r_diff_matsuurah.add(gdstk.Reference(cont_g, (59.4,-71.5), rotation=pi, x_reflection=True))
opamp_r2r_diff_matsuurah.add(gdstk.Reference(via_1, (67.4,-65.5), rotation=pi, x_reflection=True))
opamp_r2r_diff_matsuurah.add(gdstk.Reference(via_1, (59.3,-65.5), rotation=pi, x_reflection=True))
opamp_r2r_diff_matsuurah.add(gdstk.Reference(via_1, (63.4,-97.5), rotation=pi, x_reflection=True))
opamp_r2r_diff_matsuurah.add(gdstk.Reference(fet_n, (63.4,-124.6), rotation=pi, x_reflection=True))
opamp_r2r_diff_matsuurah.add(gdstk.Reference(cont_p, (50,-130.6), rotation=pi, x_reflection=True))
opamp_r2r_diff_matsuurah.add(gdstk.Reference(cont_g, (67.4,-114.6), rotation=pi, x_reflection=True))
opamp_r2r_diff_matsuurah.add(gdstk.Reference(cont_g, (59.4,-114.6), rotation=pi, x_reflection=True))
opamp_r2r_diff_matsuurah.add(gdstk.Reference(via_1, (67.4,-108.6), rotation=pi, x_reflection=True))
opamp_r2r_diff_matsuurah.add(gdstk.Reference(via_1, (59.3,-108.6), rotation=pi, x_reflection=True))
opamp_r2r_diff_matsuurah.add(gdstk.Reference(via_1, (63.4,-140.6), rotation=pi, x_reflection=True))
opamp_r2r_diff_matsuurah.add(gdstk.Reference(fet_n, (63.4,-40), rotation=pi, x_reflection=True))
opamp_r2r_diff_matsuurah.add(gdstk.Reference(cont_p, (50,-46), rotation=pi, x_reflection=True))
opamp_r2r_diff_matsuurah.add(gdstk.Reference(cont_g, (67.4,-30), rotation=pi, x_reflection=True))
opamp_r2r_diff_matsuurah.add(gdstk.Label('BPI', (-53.8,43), layer=49, texttype=0))
opamp_r2r_diff_matsuurah.add(gdstk.Label('INP_P', (130.7,22.4), layer=49, texttype=0))
opamp_r2r_diff_matsuurah.add(gdstk.Label('INP', (-53.5,-1.7), layer=49, texttype=0))
opamp_r2r_diff_matsuurah.add(gdstk.Label('INM_P', (128.4,31.2), layer=49, texttype=0))
opamp_r2r_diff_matsuurah.add(gdstk.Label('BNO', (-53.6,-108.9), layer=49, texttype=0))
opamp_r2r_diff_matsuurah.add(gdstk.Label('VSS', (-21.6,-172.5), layer=49, texttype=0))
opamp_r2r_diff_matsuurah.add(gdstk.Label('INP_N', (133.2,-51.3), layer=49, texttype=0))
opamp_r2r_diff_matsuurah.add(gdstk.Label('INM_N', (131.9,-57.8), layer=49, texttype=0))
opamp_r2r_diff_matsuurah.add(gdstk.Label('BNI', (-51.5,-65.4), layer=49, texttype=0))
opamp_r2r_diff_matsuurah.add(gdstk.Label('VDD', (-21,151.1), layer=49, texttype=0))
opamp_r2r_diff_matsuurah.add(gdstk.Label('BPO', (-53.8,84.5), layer=49, texttype=0))
opamp_r2r_diff_matsuurah.add(gdstk.Label('INM', (-52.8,-17.3), layer=49, texttype=0))

lib.write_gds('opamp_r2r_diff_MatsuuraHijiri.gds')
